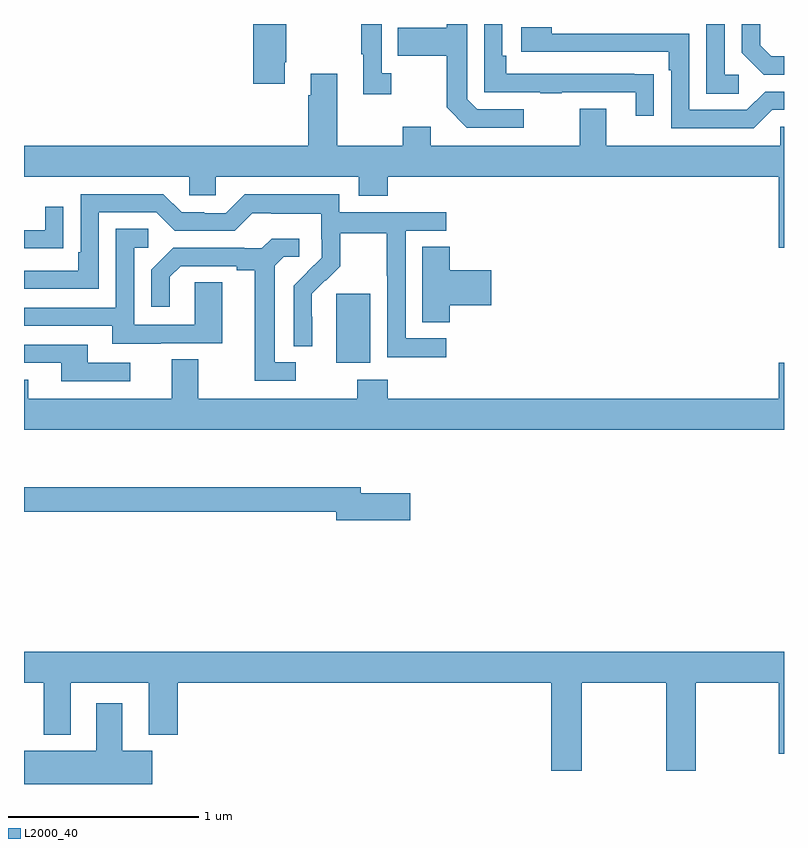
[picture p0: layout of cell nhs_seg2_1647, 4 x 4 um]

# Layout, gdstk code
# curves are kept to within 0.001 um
import gdstk
lib = gdstk.Library(unit=1e-6, precision=1e-09)
def R(c, l, rs):  # rectangles x0, y0, x1, y1
    for r in rs: c.add(gdstk.rectangle(r[:2], r[2:], *l))
def P(c, l, *ps):  # polygons
    for p in ps: c.add(gdstk.Polygon(p, *l))
L2000_40 = (2000, 40)

nhs_seg2_1647 = lib.new_cell('nhs_seg2_1647')
R(nhs_seg2_1647, L2000_40, [(198.644,620.018,198.823,620.379)])
P(nhs_seg2_1647, L2000_40, [(201,621.63),(200.932,621.63),(200.875,621.687),(200.875,621.8),(200.778,621.8),(200.778,621.65),(200.894,621.534),(201,621.534)],
  [(200.761,621.534),(200.688,621.534),(200.688,621.8),(200.592,621.8),(200.592,621.433),(200.761,621.433)],
  [(198.934,621.542),(198.882,621.542),(198.882,621.8),(198.774,621.8),(198.774,621.641),(198.785,621.641),(198.785,621.429),(198.934,621.429)],
  [(198.373,621.598),(198.381,621.598),(198.381,621.8),(198.206,621.8),(198.206,621.486),(198.373,621.486)],
  [(200.315,621.536),(200.213,621.536),(200.213,621.537),(199.538,621.537),(199.538,621.634),(199.518,621.634),(199.518,621.8),(199.422,621.8),(199.422,621.441),(199.717,621.441),(199.717,621.436),(199.829,621.436),(199.829,621.441),(200.219,621.441),(200.219,621.318),(200.315,621.318)],
  [(199.63,621.351),(199.386,621.351),(199.332,621.405),(199.332,621.8),(199.224,621.8),(199.224,621.781),(198.967,621.781),(198.967,621.634),(199.224,621.634),(199.224,621.361),(199.329,621.255),(199.63,621.255)],
  [(200.937,621.348),(201,621.348),(201,621.444),(200.901,621.444),(200.805,621.348),(200.502,621.348),(200.502,621.75),(199.778,621.75),(199.778,621.784),(199.617,621.784),(199.617,621.654),(200.393,621.654),(200.393,621.557),(200.406,621.557),(200.406,621.252),(200.841,621.252)],
  [(201,621.258),(200.979,621.258),(200.979,621.16),(200.065,621.16),(200.065,621.355),(199.925,621.355),(199.925,621.16),(199.141,621.16),(199.141,621.259),(198.994,621.259),(198.994,621.16),(198.649,621.16),(198.649,621.538),(198.509,621.538),(198.509,621.425),(198.497,621.425),(198.497,621.16),(197,621.16),(197,620.996),(197.871,620.996),(197.871,620.898),(198.009,620.898),(198.009,620.996),(198.761,620.996),(198.761,620.897),(198.914,620.897),(198.914,620.996),(200.972,620.996),(200.972,620.622),(201,620.622)],
  [(199.222,620.145),(199.008,620.145),(199.008,620.712),(199.222,620.712),(199.222,620.808),(198.66,620.808),(198.66,620.905),(198.163,620.905),(198.063,620.805),(197.948,620.805),(197.948,620.808),(197.829,620.808),(197.733,620.904),(197.298,620.904),(197.298,620.599),(197.285,620.599),(197.285,620.502),(197,620.502),(197,620.406),(197.394,620.406),(197.394,620.808),(197.697,620.808),(197.793,620.712),(198.108,620.712),(198.201,620.805),(198.301,620.805),(198.301,620.801),(198.564,620.801),(198.564,620.667),(198.566,620.667),(198.566,620.57),(198.42,620.422),(198.42,620.104),(198.516,620.104),(198.515,620.381),(198.585,620.451),(198.588,620.448),(198.665,620.525),(198.665,620.7),(198.91,620.7),(198.91,620.476),(198.912,620.476),(198.912,620.047),(199.222,620.047)],
  [(197.105,620.62),(197.207,620.62),(197.207,620.839),(197.111,620.839),(197.111,620.715),(197,620.715),(197,620.619),(197.105,620.619)],
  [(197.719,620.121),(198.043,620.121),(198.043,620.441),(197.898,620.441),(197.898,620.217),(197.58,620.217),(197.58,620.622),(197.653,620.622),(197.653,620.723),(197.484,620.723),(197.484,620.307),(197,620.307),(197,620.211),(197.465,620.211),(197.465,620.117),(197.719,620.117)],
  [(198.43,620.019),(198.319,620.019),(198.319,620.527),(198.366,620.574),(198.448,620.574),(198.448,620.671),(198.304,620.671),(198.252,620.619),(198.158,620.619),(198.158,620.622),(197.786,620.622),(197.67,620.506),(197.67,620.313),(197.767,620.313),(197.767,620.469),(197.824,620.526),(198.119,620.526),(198.119,620.504),(198.215,620.504),(198.215,619.923),(198.43,619.923)],
  [(199.241,620.321),(199.459,620.321),(199.459,620.504),(199.241,620.504),(199.241,620.627),(199.097,620.627),(199.097,620.23),(199.241,620.23)],
  [(197.56,620.016),(197.335,620.016),(197.335,620.112),(197,620.112),(197,620.016),(197.195,620.016),(197.195,619.92),(197.56,619.92)],
  [(201,620.017),(200.972,620.017),(200.972,619.828),(198.914,619.828),(198.914,619.927),(198.754,619.927),(198.754,619.828),(197.917,619.828),(197.917,620.036),(197.777,620.036),(197.777,619.828),(197.023,619.828),(197.023,619.927),(197,619.927),(197,619.664),(201,619.664)],
  [(199.033,619.329),(198.772,619.329),(198.772,619.363),(197,619.363),(197,619.234),(198.644,619.234),(198.644,619.187),(199.033,619.187)],
  [(199.935,618.332),(200.38,618.332),(200.38,617.871),(200.535,617.871),(200.535,618.332),(200.972,618.332),(200.972,617.958),(201,617.958),(201,618.496),(197,618.496),(197,618.332),(197.105,618.332),(197.105,618.059),(197.245,618.059),(197.245,618.332),(197.657,618.332),(197.657,618.059),(197.81,618.059),(197.81,618.332),(199.775,618.332),(199.775,617.871),(199.935,617.871)],
  [(197.674,617.974),(197.518,617.974),(197.518,618.226),(197.381,618.226),(197.381,617.974),(197,617.974),(197,617.8),(197.674,617.8)])

lib.write_gds('nhs_seg2_1647.gds')
